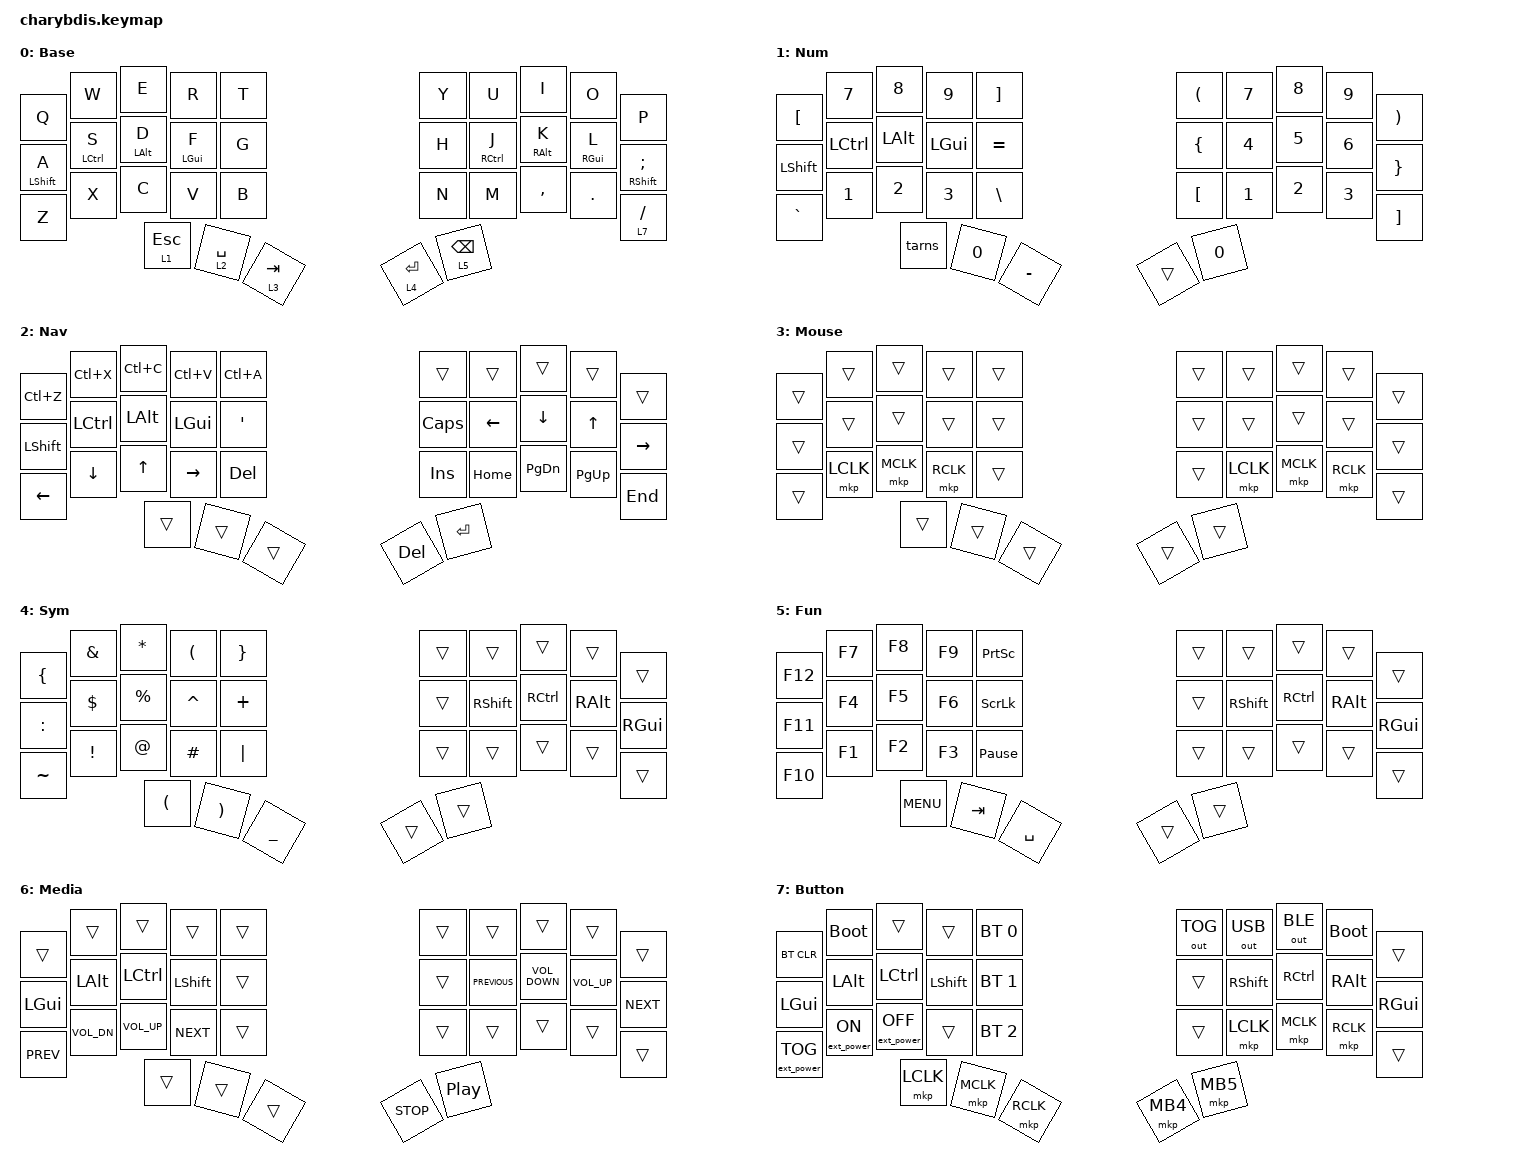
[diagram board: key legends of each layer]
#include <behaviors.dtsi>
#include <dt-bindings/zmk/keys.h>
#include <dt-bindings/zmk/bt.h>
#include <dt-bindings/zmk/ext_power.h>
#include <dt-bindings/zmk/mouse.h>
#include <dt-bindings/zmk/outputs.h>
#include <input/processors.dtsi>
#include <dt-bindings/zmk/input_transform.h>

#define Base 0
#define Num 1
#define Nav 2
#define Mouse 3
#define Sym 4
#define Fun 5
#define Media 6 
#define Button 7

/ {
    trackball_listener {
        compatible = "zmk,input-listener";
        device = <&trackball>;

        snipe {
            layers = <Mouse>;
            input-processors = <&zip_xy_scaler 1 3>;
        };

        scroll {
            layers = <Nav>;
            input-processors = <&zip_xy_scaler 1 8>, <&zip_xy_to_scroll_mapper>, <&zip_scroll_transform (INPUT_TRANSFORM_Y_INVERT)>;
        };
    };

    behaviors {
        hm: homerow_mods {
            compatible = "zmk,behavior-hold-tap";
            #binding-cells = <2>;
            flavor = "tap-preferred";
            tapping-term-ms = <240>;
            quick-tap-ms = <150>;
            bindings =
                <&kp>,
                <&kp>;
        };

        lt: layer_tap {
            compatible = "zmk,behavior-hold-tap";
            #binding-cells = <2>;
            flavor = "balanced";
            tapping-term-ms = <240>;
            quick-tap-ms = <150>;
            bindings = 
                <&mo>,
                <&kp>;
        };
    };

    keymap {
        compatible = "zmk,keymap";

        Base {
            bindings = <
            &kp Q         &kp W         &kp E           &kp R           &kp T           &kp Y        &kp U        &kp I         &kp O       &kp P               
            &hm LSHIFT A  &hm LCTRL S   &hm LALT D      &hm LGUI F      &kp G           &kp H        &hm RCTRL J  &hm RALT K    &hm RGUI L  &hm RSHIFT SEMICOLON  
            &kp Z         &kp X         &kp C           &kp V           &kp B           &kp N        &kp M        &kp COMMA     &kp DOT     &lt 7 SLASH         
                                        &lt 1 ESCAPE    &lt 2 SPACE     &lt 3 TAB       &lt 4 ENTER  &lt 5 BACKSPACE
            >;
        };

        Num {
            bindings = <
            &kp LEFT_BRACKET  &kp NUMBER_7  &kp NUMBER_8  &kp NUMBER_9  &kp RIGHT_BRACKET       &kp LEFT_PARENTHESIS    &kp NUMBER_7    &kp NUMBER_8    &kp NUMBER_9    &kp RIGHT_PARENTHESIS
            &kp LSHIFT    &kp LCTRL    &kp LALT   &kp LGUI  &kp EQUAL               &kp LEFT_BRACE          &kp NUMBER_4    &kp NUMBER_5    &kp NUMBER_6    &kp RIGHT_BRACE  
            &kp GRAVE         &kp NUMBER_1  &kp NUMBER_2  &kp NUMBER_3  &kp BACKSLASH           &kp LEFT_BRACKET        &kp NUMBER_1    &kp NUMBER_2    &kp NUMBER_3    &kp RIGHT_BRACKET  
                                            &tarns       &kp NUMBER_0  &kp MINUS               &trans                  &kp NUMBER_0
            >;
        };

        Nav {
            bindings = <
            &kp LC(Z)     &kp LC(X)   &kp LC(C)   &kp LC(V)   &kp LC(A)                     &trans     &trans         &trans       &trans       &trans  
            &kp LSHIFT    &kp LCTRL    &kp LALT   &kp LGUI  &kp SQT                     &kp CAPS   &kp LEFT       &kp DOWN       &kp UP    &kp RIGHT  
            &kp LEFT      &kp DOWN    &kp UP      &kp RIGHT   &kp DELETE                &kp INSERT   &kp HOME  &kp PAGE_DOWN  &kp PAGE_UP      &kp END  
                                      &trans      &trans      &trans                    &kp DELETE  &kp ENTER
            >;
        };

        Mouse {
            bindings = <
            &trans    &trans      &trans      &trans      &trans              &trans         &trans     &trans     &trans  &trans  
            &trans    &trans      &trans      &trans      &trans              &trans         &trans     &trans     &trans  &trans  
            &trans    &mkp LCLK   &mkp MCLK   &mkp RCLK   &trans              &trans      &mkp LCLK  &mkp MCLK  &mkp RCLK  &trans  
                                  &trans      &trans      &trans              &trans         &trans
            >;
        };

        Sym {
            bindings = <
            &kp LEFT_BRACE  &kp AMPERSAND  &kp ASTERISK          &kp LEFT_PARENTHESIS   &kp RIGHT_BRACE       &trans      &trans     &trans    &trans    &trans  
            &kp COLON       &kp DOLLAR     &kp PERCENT           &kp CARET              &kp PLUS              &trans  &kp RSHIFT  &kp RCTRL  &kp RALT  &kp RGUI  
            &kp TILDE       &kp EXCL       &kp AT                &kp HASH               &kp PIPE              &trans      &trans     &trans    &trans    &trans  
                                           &kp LEFT_PARENTHESIS  &kp RIGHT_PARENTHESIS  &kp UNDERSCORE        &trans      &trans
            >;
        };

        Fun {
            bindings = <
            &kp F12     &kp F7   &kp F8      &kp F9   &kp PRINTSCREEN          &trans      &trans     &trans    &trans    &trans  
            &kp F11     &kp F4   &kp F5      &kp F6   &kp SCROLLLOCK           &trans  &kp RSHIFT  &kp RCTRL  &kp RALT  &kp RGUI  
            &kp F10     &kp F1   &kp F2      &kp F3   &kp PAUSE_BREAK          &trans      &trans     &trans    &trans    &trans  
                                 &kp C_MENU  &kp TAB  &kp SPACE                &trans      &trans
            >;
        };

        Media {
            bindings = <
            &trans        &trans          &trans          &trans      &trans              &trans            &trans             &trans           &trans      &trans  
            &kp LGUI      &kp LALT        &kp LCTRL       &kp LSHIFT  &trans              &trans    &kp C_PREVIOUS  &kp C_VOLUME_DOWN  &kp C_VOLUME_UP  &kp C_NEXT  
            &kp C_PREV    &kp C_VOL_DN    &kp C_VOL_UP    &kp C_NEXT  &trans              &trans            &trans             &trans           &trans      &trans  
                                          &trans          &trans      &trans          &kp C_STOP  &kp C_PLAY_PAUSE
            >;
        };

        Button {
            bindings = <
            &bt BT_CLR            &bootloader         &trans              &trans          &bt BT_SEL 0       &out OUT_TOG  &out OUT_USB   &out OUT_BLE  &bootloader    &trans  
            &kp LGUI              &kp LALT            &kp LCTRL           &kp LSHIFT      &bt BT_SEL 1             &trans    &kp RSHIFT      &kp RCTRL     &kp RALT  &kp RGUI  
            &ext_power EP_TOG     &ext_power EP_ON    &ext_power EP_OFF   &trans          &bt BT_SEL 2             &trans     &mkp LCLK      &mkp MCLK    &mkp RCLK    &trans  
                                                      &mkp LCLK           &mkp MCLK       &mkp RCLK              &mkp MB4      &mkp MB5
            >;
        };
    };
};
